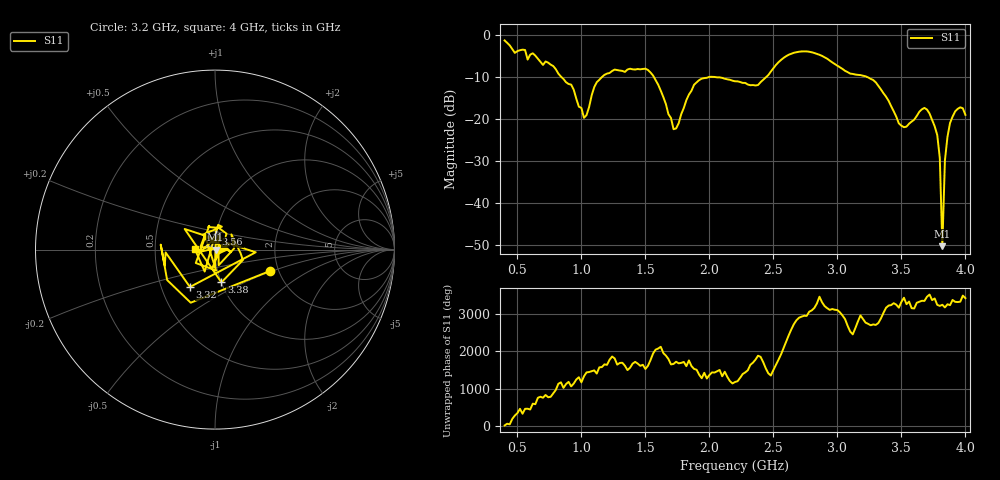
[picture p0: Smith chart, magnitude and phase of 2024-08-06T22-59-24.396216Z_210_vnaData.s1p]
!Created with skrf (http://scikit-rf.org).
# Hz S RI R 50.0
!freq ReS11 ImS11
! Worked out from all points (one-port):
!   181 points, 400 MHz to 4 GHz, reference 50 ohm
!   lowest |S11| = -50.3 dB at 3.82 GHz (marker M1), VSWR 1.01, Z = 50.3 + j0.0028 ohm
!   |S11| at or under -10 dB: 1.568 GHz to 1.989 GHz (421.1 MHz wide, 23.7 % of centre); 2.081 GHz to 2.441 GHz (360.3 MHz wide, 15.9 % of centre); 3.24 GHz to end of sweep (the widest 3 of 4)
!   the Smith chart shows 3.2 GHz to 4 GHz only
!   S11 on the Smith chart (normalised r, x): 3.2 GHz: 1.81, -0.48; 3.32 GHz: 0.70, -0.31; 3.38 GHz: 1.00, -0.38; 3.56 GHz: 1.00, +0.18; 4 GHz: 0.80, +0.01
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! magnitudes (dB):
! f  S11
! 400 MHz  -1.2
! 860 MHz  -10.4
! 920 MHz  -11.7
! 1.02 GHz  -19.7
! 1.12 GHz  -11.2
! 1.3 GHz  -8.4
! 1.52 GHz  -8.2
! 1.62 GHz  -13.2
! 1.72 GHz  -22.4
! 1.76 GHz  -21.0
! 1.92 GHz  -10.7
! 2.2 GHz  -10.9
! 2.38 GHz  -11.8
! 2.66 GHz  -4.1
! 3.1 GHz  -9.1
! 3.2 GHz  -9.6
! 3.32 GHz  -12.0
! 3.38 GHz  -14.6
! 3.48 GHz  -21.0
! 3.56 GHz  -21.1
! 3.68 GHz  -17.3
! 3.78 GHz  -23.8
! 3.8 GHz  -29.2
! 3.82 GHz  -50.3
! 3.84 GHz  -29.8
! 3.86 GHz  -24.2
! 3.92 GHz  -18.1
! 4 GHz  -18.9
